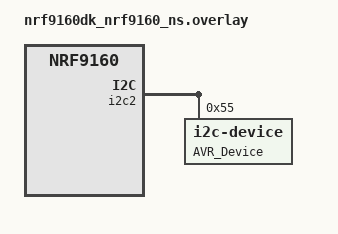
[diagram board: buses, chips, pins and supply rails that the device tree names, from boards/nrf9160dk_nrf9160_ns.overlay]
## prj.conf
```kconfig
CONFIG_I2C=y
CONFIG_I2C_NRFX=y
CONFIG_CBPRINTF_FP_SUPPORT=y   //for floating point variable enabling 





# Enable watchdog if used
CONFIG_WATCHDOG=y
CONFIG_CJSON_LIB=y
CONFIG_NEWLIB_LIBC=y
CONFIG_NEWLIB_LIBC_FLOAT_PRINTF=y
# Enable any other features you require
# Date Time library
CONFIG_DATE_TIME=y
CONFIG_NETWORKING=y
CONFIG_NET_SOCKETS=y
```

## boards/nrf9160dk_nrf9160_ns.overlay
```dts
arduino_i2c: &i2c2 {
	compatible = "nordic,nrf-twim";
	status = "okay";
	pinctrl-0 = <&i2c2_default>;
	pinctrl-1 = <&i2c2_sleep>;
	pinctrl-names = "default", "sleep";

	avr_device: avr@55 {
		compatible = "i2c-device";
		reg = <0x55>;
		label = "AVR_Device";
	};
};
```

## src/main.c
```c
/**
 * @file main.c
 * @brief I2C communication and data processing with NRF microcontroller.
 *
 * This code communicates with an AVR device using I2C to retrieve sensor data 
 * and hub information. It periodically sends commands to the device, verifies
 * data integrity using CRC-16-CCITT and CRC-8, and processes the received data.
 *
 * @version 1.2
 * @date 2024
 */

#include <zephyr/kernel.h>           ///< Zephyr kernel header
#include <zephyr/drivers/i2c.h>     ///< I2C driver header
#include <stdio.h>                   ///< Standard I/O header
#include <stdlib.h>                  ///< Standard library header
//#include <zephyr/power/power.h>    ///< For sleep functionality (commented out)
#include <zephyr/sys/printk.h>       ///< Printk for logging
#include <zephyr/sys/byteorder.h>    ///< Byte order manipulation functions
#include <zephyr/device.h>           ///< Device management header
#include <zephyr/zephyr.h>
#include <cJSON.h>                   ///< cJSON library for JSON handling
#include <cJSON_os.h>

#include <zephyr/logging/log.h>       ///< Logging header for structured logging
#include <zephyr/drivers/gpio.h>     ///< GPIO driver header

#include <zephyr/drivers/watchdog.h>  ///< Watchdog timer header

#ifndef WDT_MAX_WINDOW
#define WDT_MAX_WINDOW  30000U
#endif

// Definitions
#define I2C0_NODE      DT_NODELABEL(avr_device)
#define NUM_SENSORS    16  ///< Maximum number of sensors
#define SENSOR_DATA_SIZE sizeof(SensorData)
#define HUB_INFO_SIZE  10  ///< Updated to 10 bytes based on new hub info structure
#define MAX_RETRIES    2 ///< Retry for CRC mismatches
#define HEARTBEAT_PERIOD_S 30  ///< Heartbeat interval in seconds
// I2C slave address from the device tree
#define I2C_SLAVE_ADDRESS  DT_REG_ADDR(DT_NODELABEL(avr_device))


typedef enum {
    CMD_GET_SAMPLES_ALL = 0x01,
    CMD_GET_HUB_INFO = 0x02,
    CMD_GET_SAMPLES = 0x03,
    CMD_GET_SAMPLES_SPECIFIC = 0x04
} CommandCode;
/**
 * @brief Send command, payload, and CRC-8 to AVR.
 * @param i2c_dev I2C device structure.
 * @param cmd Command to send.
 * @param payload Payload to send.
 * @return I2C write status.
 */
int send_command(const struct i2c_dt_spec *i2c_dev, CommandCode cmd, uint8_t payload) {
    uint8_t command[2] = { cmd, payload};
    return i2c_write_dt(i2c_dev, command, sizeof(command));
}



/**
 * @brief Main entry function.
 */int main(void) {
    int err;
    int ret;
       // Get the I2C device structure from the device tree
    const struct i2c_dt_spec i2c_dev = I2C_DT_SPEC_GET(I2C0_NODE);

    // Check if the I2C device is ready
    if (!device_is_ready(i2c_dev.bus)) {
        printk("I2C bus %s is not ready!\n", i2c_dev.bus->name);
        return;
    }

      ret = send_command(&i2c_dev, CMD_GET_SAMPLES, 0x00);  // Request sensor samples
                if (ret) {
                    printk("I2C: Failed to send sample command (error %d).\n", ret);
                 // Retry sending the command
                }

}
```
